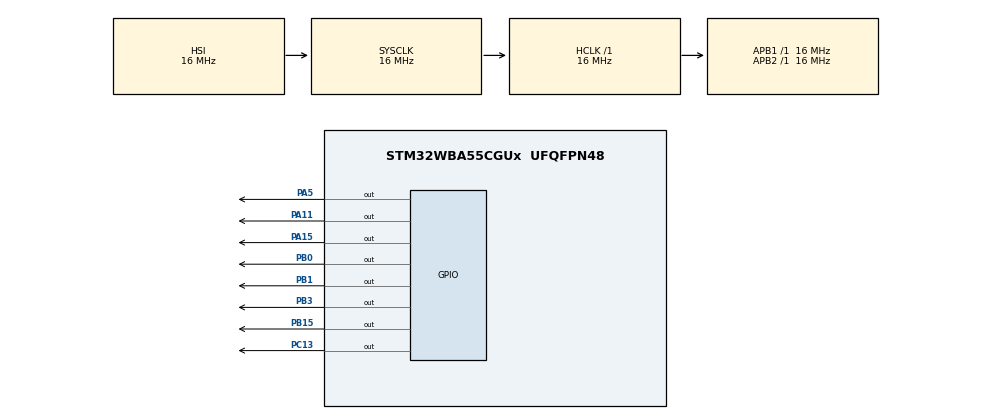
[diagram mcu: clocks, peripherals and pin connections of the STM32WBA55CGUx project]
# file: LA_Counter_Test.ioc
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CORTEX_M33_NS.userName=CORTEX_M33
Mcu.Family=STM32WBA
Mcu.Name=STM32WBA55CGUx
Mcu.Package=UFQFPN48
NVIC.PriorityGroup=NVIC_PRIORITYGROUP_4
PA11.Signal=GPIO_Output
PA13\ (JTMS/SWDIO).Mode=Serial_Wire
PA13\ (JTMS/SWDIO).Signal=DEBUG_JTMS-SWDIO
PA14\ (JTCK/SWCLK).Mode=Serial_Wire
PA14\ (JTCK/SWCLK).Signal=DEBUG_JTCK-SWCLK
PA15\ (JTDI).Signal=GPIO_Output
PA5.Signal=GPIO_Output
PB0.Signal=GPIO_Output
PB1.Signal=GPIO_Output
PB15.Signal=GPIO_Output
PB3\ (JTDO/TRACESWO).Signal=GPIO_Output
PC13.Signal=GPIO_Output
ProjectManager.HeapSize=0x200
ProjectManager.StackSize=0x400
ProjectManager.TargetToolchain=STM32CubeIDE
RCC.ADCFreq_Value=16000000
RCC.AHBFreq_Value=16000000
RCC.APB1Freq_Value=16000000
RCC.APB1TimFreq_Value=16000000
RCC.APB2Freq_Value=16000000
RCC.APB2TimFreq_Value=16000000
RCC.CortexFreq_Value=2000000
RCC.HCLKFreq_Value=16000000
RCC.HSE_VALUE=16000000
RCC.HSI_VALUE=16000000
RCC.LSE_VALUE=32768
RCC.LSI1_VALUE=32000
RCC.LSI2_VALUE=32000
RCC.SYSCLKFreq_VALUE=16000000
RCC.VCOOutputFreq_Value=2064000000
VP_CORTEX_M33_NS_VS_Hclk.Mode=Hclk_Mode
VP_MEMORYMAP_VS_MEMORYMAP.Mode=CurAppReg
VP_PWR_VS_SECSignals.Mode=Security/Privilege
board=custom

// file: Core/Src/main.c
/* USER CODE BEGIN Header */
/**
  ******************************************************************************
  * @file           : main.c
  * @brief          : Main program body
  ******************************************************************************
  * @attention
  *
  * Copyright (c) 2026 STMicroelectronics.
  * All rights reserved.
  *
  * This software is licensed under terms that can be found in the LICENSE file
  * in the root directory of this software component.
  * If no LICENSE file comes with this software, it is provided AS-IS.
  *
  ******************************************************************************
  */
/* USER CODE END Header */
#include "main.h"

void SystemClock_Config(void);
static void MX_GPIO_Init(void);

/* USER CODE BEGIN 0 */
typedef struct {GPIO_TypeDef *port; uint16_t pin;} TestPin;

static const TestPin pins[8] = {
		{GPIOA, GPIO_PIN_11},   // D0 -> CH0
		{GPIOB, GPIO_PIN_0},	// D1 -> CH1
		{GPIOB, GPIO_PIN_1},	// D2 -> CH2
		{GPIOB, GPIO_PIN_3},	// D3 -> CH3
		{GPIOC, GPIO_PIN_13},	// D4 -> CH4
		{GPIOA, GPIO_PIN_15},	// D5 -> CH5
		{GPIOB, GPIO_PIN_15},	// D8 -> CH6
		{GPIOA, GPIO_PIN_5},	// D10 -> CH7
};
/* USER CODE END 0 */

int main(void)
{

  /* MCU Configuration--------------------------------------------------------*/

  /* Reset of all peripherals, Initializes the Flash interface and the Systick. */
  HAL_Init();

  /* Configure the system clock */
  SystemClock_Config();

  /* Initialize all configured peripherals */
  MX_GPIO_Init();

  /* Infinite loop */
  while (1)
  {

    /* USER CODE BEGIN 3 */
	  static uint8_t count = 0; // 0 to 255
	  count++;
	  for(uint8_t i = 0; i < 8; i++)
	  {
		  HAL_GPIO_WritePin(pins[i].port, pins[i].pin, ((count >> i) & 1) ? GPIO_PIN_SET : GPIO_PIN_RESET);
	  }

	  HAL_Delay(1); // 1ms
  }
  /* USER CODE END 3 */
}

void SystemClock_Config(void)
{
  RCC_OscInitTypeDef RCC_OscInitStruct = {0};
  RCC_ClkInitTypeDef RCC_ClkInitStruct = {0};

  /** Supply configuration update enable
  */
  HAL_PWREx_ConfigSupply(PWR_LDO_SUPPLY);

  /** Configure the main internal regulator output voltage
  */
  if (HAL_PWREx_ControlVoltageScaling(PWR_REGULATOR_VOLTAGE_SCALE2) != HAL_OK)
  {
    Error_Handler();
  }

  /** Initializes the CPU, AHB and APB busses clocks
  */
  RCC_OscInitStruct.OscillatorType = RCC_OSCILLATORTYPE_HSI;
  RCC_OscInitStruct.HSIState = RCC_HSI_ON;
  RCC_OscInitStruct.HSICalibrationValue = RCC_HSICALIBRATION_DEFAULT;
  RCC_OscInitStruct.PLL1.PLLState = RCC_PLL_NONE;
  if (HAL_RCC_OscConfig(&RCC_OscInitStruct) != HAL_OK)
  {
    Error_Handler();
  }

  /** Initializes the CPU, AHB and APB busses clocks
  */
  RCC_ClkInitStruct.ClockType = RCC_CLOCKTYPE_HCLK|RCC_CLOCKTYPE_SYSCLK
                              |RCC_CLOCKTYPE_PCLK1|RCC_CLOCKTYPE_PCLK2
                              |RCC_CLOCKTYPE_PCLK7|RCC_CLOCKTYPE_HCLK5;
  RCC_ClkInitStruct.SYSCLKSource = RCC_SYSCLKSOURCE_HSI;
  RCC_ClkInitStruct.AHBCLKDivider = RCC_SYSCLK_DIV1;
  RCC_ClkInitStruct.APB1CLKDivider = RCC_HCLK_DIV1;
  RCC_ClkInitStruct.APB2CLKDivider = RCC_HCLK_DIV1;
  RCC_ClkInitStruct.APB7CLKDivider = RCC_HCLK_DIV1;
  RCC_ClkInitStruct.AHB5_PLL1_CLKDivider = RCC_SYSCLK_PLL1_DIV1;
  RCC_ClkInitStruct.AHB5_HSEHSI_CLKDivider = RCC_SYSCLK_HSEHSI_DIV1;

  if (HAL_RCC_ClockConfig(&RCC_ClkInitStruct, FLASH_LATENCY_1) != HAL_OK)
  {
    Error_Handler();
  }
}

static void MX_GPIO_Init(void)
{
  GPIO_InitTypeDef GPIO_InitStruct = {0};

  /* GPIO Ports Clock Enable */
  __HAL_RCC_GPIOA_CLK_ENABLE();
  __HAL_RCC_GPIOC_CLK_ENABLE();
  __HAL_RCC_GPIOB_CLK_ENABLE();

  /*Configure GPIO pin Output Level */
  HAL_GPIO_WritePin(GPIOA, GPIO_PIN_5|GPIO_PIN_15|GPIO_PIN_11, GPIO_PIN_RESET);

  /*Configure GPIO pin Output Level */
  HAL_GPIO_WritePin(GPIOC, GPIO_PIN_13, GPIO_PIN_RESET);

  /*Configure GPIO pin Output Level */
  HAL_GPIO_WritePin(GPIOB, GPIO_PIN_3|GPIO_PIN_1|GPIO_PIN_0|GPIO_PIN_15, GPIO_PIN_RESET);

  /*Configure GPIO pins : PA5 PA15 PA11 */
  GPIO_InitStruct.Pin = GPIO_PIN_5|GPIO_PIN_15|GPIO_PIN_11;
  GPIO_InitStruct.Mode = GPIO_MODE_OUTPUT_PP;
  GPIO_InitStruct.Pull = GPIO_NOPULL;
  GPIO_InitStruct.Speed = GPIO_SPEED_FREQ_LOW;
  HAL_GPIO_Init(GPIOA, &GPIO_InitStruct);

  /*Configure GPIO pin : PC13 */
  GPIO_InitStruct.Pin = GPIO_PIN_13;
  GPIO_InitStruct.Mode = GPIO_MODE_OUTPUT_PP;
  GPIO_InitStruct.Pull = GPIO_NOPULL;
  GPIO_InitStruct.Speed = GPIO_SPEED_FREQ_LOW;
  HAL_GPIO_Init(GPIOC, &GPIO_InitStruct);

  /*Configure GPIO pins : PB3 PB1 PB0 PB15 */
  GPIO_InitStruct.Pin = GPIO_PIN_3|GPIO_PIN_1|GPIO_PIN_0|GPIO_PIN_15;
  GPIO_InitStruct.Mode = GPIO_MODE_OUTPUT_PP;
  GPIO_InitStruct.Pull = GPIO_NOPULL;
  GPIO_InitStruct.Speed = GPIO_SPEED_FREQ_LOW;
  HAL_GPIO_Init(GPIOB, &GPIO_InitStruct);

}

void Error_Handler(void)
{
  __disable_irq();
  while (1)
  {
  }
}
